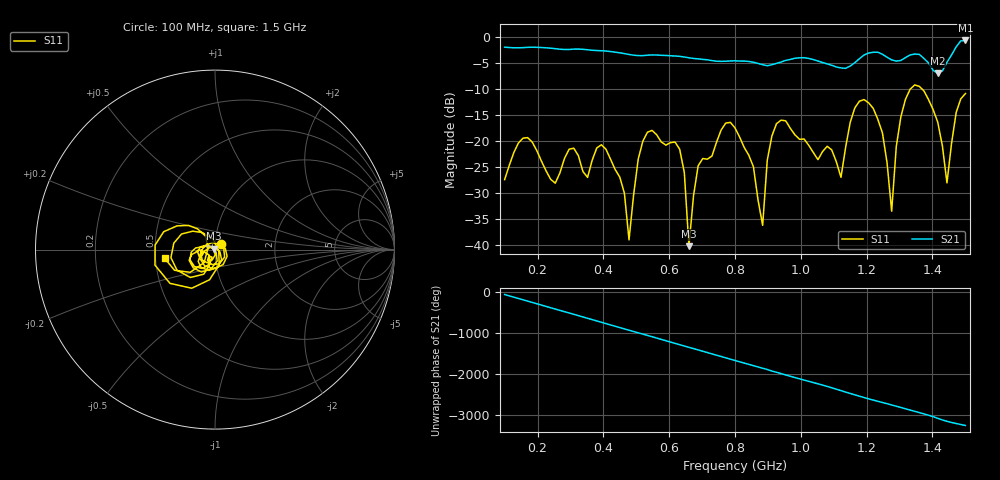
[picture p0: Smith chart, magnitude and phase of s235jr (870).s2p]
! NanoVNA-App
! Date: 2025-09-25 15:10:56
! Start: 100MHz Stop: 1,5GHz Points: 101
! S-Parameter data: F S11 S21 S12 S22
# Hz S RI R 50
!  Frequency  S11_Real  S11_Imag  S21_Real  S21_Imag  S12_Real  S12_Imag  S22_Real  S22_Imag
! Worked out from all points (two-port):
!   101 points, 100 MHz to 1.5 GHz, reference 50 ohm
!   highest |S21| = -0.68 dB at 1.5 GHz (marker M1); lowest = -7.0 dB at 1.416 GHz (marker M2)
!   |S21| within 3 dB of the highest: start of sweep to 619.4 MHz; 1.188 GHz to 1.256 GHz (68.08 MHz wide, 5.57 % of centre) (the widest 2 of 4)
!   lowest |S11| = -40.3 dB at 660 MHz (marker M3), VSWR 1.02, Z = 49.2 + j0.541 ohm
!   |S11| at or under -10 dB: start of sweep to 1.333 GHz; 1.368 GHz to end of sweep
!   S12 and S22 are empty: the file has one direction only
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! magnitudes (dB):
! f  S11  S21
! 100 MHz  -27.5  -2.0
! 170 MHz  -19.4  -2.0
! 338 MHz  -25.9  -2.4
! 408 MHz  -21.6  -2.7
! 478 MHz  -39.0  -3.4
! 520 MHz  -20.1  -3.6
! 576 MHz  -20.2  -3.5
! 632 MHz  -21.6  -3.7
! 660 MHz  -40.3  -4.0
! 688 MHz  -24.8  -4.2
! 800 MHz  -17.5  -4.6
! 884 MHz  -36.3  -5.3
! 926 MHz  -16.7  -5.1
! 1.038 GHz  -22.2  -4.4
! 1.122 GHz  -27.0  -6.0
! 1.206 GHz  -12.7  -3.1
! 1.248 GHz  -18.5  -3.3
! 1.276 GHz  -33.5  -4.4
! 1.332 GHz  -10.1  -3.5
! 1.416 GHz  -16.4  -7.0
! 1.444 GHz  -28.1  -4.9
! 1.5 GHz  -10.9  -0.7
